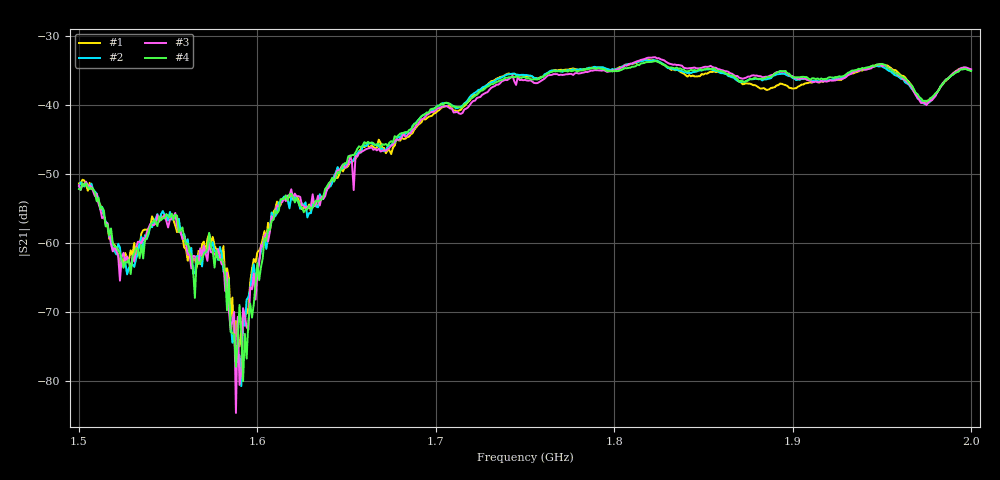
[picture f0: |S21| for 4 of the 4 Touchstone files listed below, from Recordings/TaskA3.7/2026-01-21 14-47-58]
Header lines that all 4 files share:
! NanoVNA-App by SYSJOINT et al v1.1.209 (+OD18)
! Start: 1,5GHz Stop: 2GHz Points: 501
! S-Parameter data: F S11 S21 S12 S22
# Hz S RI R 50
!  Frequency  S11_Real  S11_Imag  S21_Real  S21_Imag  S12_Real  S12_Imag  S22_Real  S22_Imag
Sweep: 1.5 GHz to 2 GHz
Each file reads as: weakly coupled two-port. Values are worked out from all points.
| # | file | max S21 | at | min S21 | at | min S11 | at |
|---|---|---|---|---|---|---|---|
| 1 | 0.s2p | -33.44 dB | 1.819 GHz | -75.0 dB | 1.59 GHz | -31.7 dB | 1.817 GHz |
| 2 | 1.s2p | -33.52 dB | 1.818 GHz | -80.8 dB | 1.591 GHz | -32.0 dB | 1.817 GHz |
| 3 | 2.s2p | -33.11 dB | 1.823 GHz | -84.7 dB | 1.588 GHz | -30.5 dB | 1.817 GHz |
| 4 | 3.s2p | -33.65 dB | 1.823 GHz | -80.1 dB | 1.592 GHz | -31.0 dB | 1.817 GHz |
